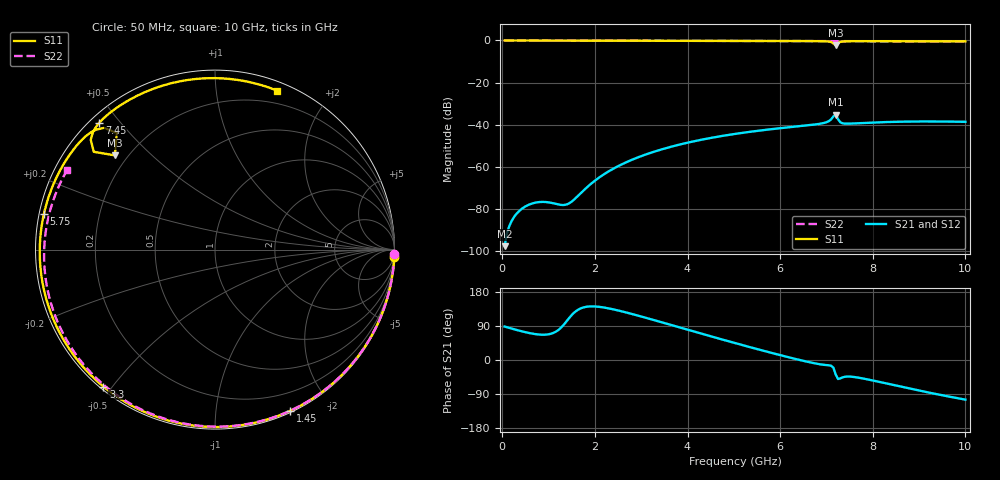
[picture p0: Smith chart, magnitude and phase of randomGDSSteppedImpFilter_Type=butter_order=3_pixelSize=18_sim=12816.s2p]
! freq	dB(S11)	phase(S11)	dB(S12)	phase(S12)
!  dB(S21)	phase(S21)	dB(S22)	phase(S22)
!S-par simulation data
#  GHz  S  DB  R 50
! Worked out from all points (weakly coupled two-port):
!   200 points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, 50 MHz to 10 GHz, reference 50 ohm
!   highest |S21| = -35.26 dB at 7.2 GHz (marker M1); lowest = -97.5 dB at 50 MHz (marker M2)
!   lowest |S11| = -2.3 dB at 7.2 GHz (marker M3), VSWR 7.55, Z = 7.64 + j19.4 ohm
!   |S11| at or under -10 dB: nowhere
!   |S22| runs from -0.6 to 0.0 dB; largest |S21 - S12| = 0
!   S11 on the Smith chart (normalised r, x): 50 MHz: 0, -48; 1.45 GHz: 0.02, -1.57; 3.3 GHz: 0.01, -0.47; 5.75 GHz: 0.01, +0.10; 7.45 GHz: 0.03, +0.44; 10 GHz: 0.08, +1.46
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0.05  -0.00 -2.4  -97.52 88.3  -97.52 88.3  -0.00 -1.3
0.4  -0.03 -18.8  -80.18 76.3  -80.18 76.3  -0.01 -10.1
0.65  -0.04 -30.4  -77.26 69.6  -77.26 69.6  -0.02 -16.3
1.3  -0.07 -58.9  -78.01 89.3  -78.01 89.3  -0.04 -32.3
1.45  -0.08 -65.1  -77.13 111.7  -77.13 111.7  -0.05 -35.9
1.75  -0.09 -77.0  -71.21 138.7  -71.21 138.7  -0.05 -43.1
2.4  -0.11 -100.7  -60.76 133.6  -60.76 133.6  -0.07 -58.3
3.3  -0.14 -129.2  -52.58 104.5  -52.58 104.5  -0.10 -78.4
3.4  -0.14 -132.1  -51.90 101.0  -51.90 101.0  -0.10 -80.6
4.2  -0.16 -154.0  -47.51 73.0  -47.51 73.0  -0.13 -97.4
5.05  -0.20 -175.2  -44.23 43.9  -44.23 43.9  -0.17 -114.4
5.75  -0.23 168.2  -42.21 20.8  -42.21 20.8  -0.21 -127.8
6.7  -0.30 145.6  -39.98 -7.6  -39.98 -7.6  -0.27 -145.6
7.1  -0.75 132.3  -37.41 -15.2  -37.41 -15.2  -0.30 -152.9
7.15  -1.42 130.1  -35.99 -20.5  -35.99 -20.5  -0.30 -153.9
7.2  -2.31 136.7  -35.26 -38.4  -35.26 -38.4  -0.31 -154.8
7.25  -1.23 141.1  -37.34 -50.2  -37.34 -50.2  -0.31 -155.7
7.3  -0.68 138.5  -38.80 -48.4  -38.80 -48.4  -0.31 -156.6
7.45  -0.38 132.3  -39.46 -43.6  -39.46 -43.6  -0.33 -159.4
8.35  -0.36 109.3  -38.64 -63.4  -38.64 -63.4  -0.41 -176.1
9.2  -0.40 88.6  -38.40 -85.7  -38.40 -85.7  -0.49 167.7
10  -0.44 68.7  -38.57 -104.6  -38.57 -104.6  -0.58 151.8
